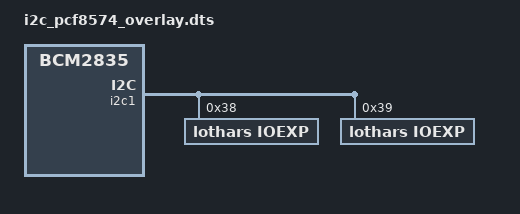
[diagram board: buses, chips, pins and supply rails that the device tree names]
/dts-v1/;
/plugin/;
/ {
	compatible = "raspberrypi,3-model-b", "brcm,bcm2835";
	fragment@0 {
		target = <&i2c1>;
		__overlay__ {
			#address-cells = <1>;
			#size-cells = <0>;
			status = "okay";

 			ioexp@38 {
				compatible = "lothars,ioexp";
				reg = <0x38>;
 			};

 			ioexp@39 {
 				compatible = "lothars,ioexp";
 				reg = <0x39>;
 			};
		};
	};
};
